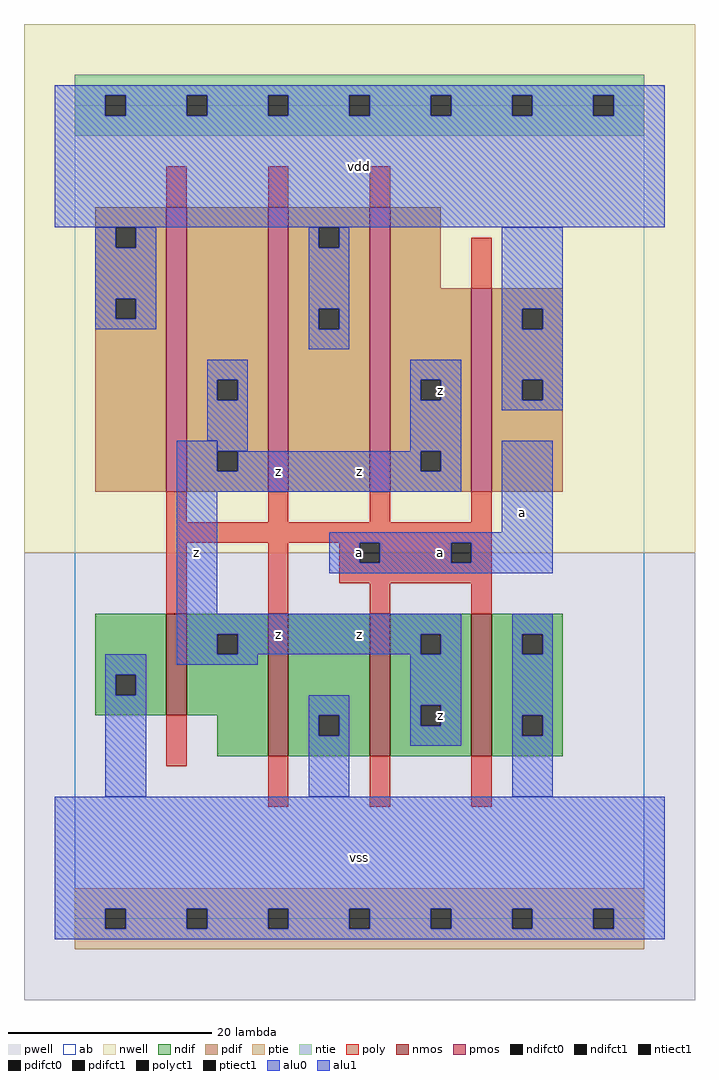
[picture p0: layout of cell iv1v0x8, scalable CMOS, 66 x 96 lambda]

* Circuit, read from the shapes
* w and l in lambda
.subckt iv1v0x8 a vdd vss z
M1 z a vss vss nfet w=10 l=2
M2 vss a z vss nfet w=14 l=2 m=3
M3 z a vdd vdd pfet w=28 l=2 m=3
M4 vdd a z vdd pfet w=20 l=2
.ends

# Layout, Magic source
magic
tech scmos
<< ab >>
rect 0 0 56 80
<< nwell >>
rect -5 36 61 88
<< pwell >>
rect -5 -8 61 36
<< poly >>
rect 9 70 11 74
rect 19 70 21 74
rect 29 70 31 74
rect 39 62 41 67
rect 9 39 11 42
rect 19 39 21 42
rect 29 39 31 42
rect 39 39 41 42
rect 9 37 41 39
rect 9 30 11 37
rect 19 30 21 37
rect 26 35 28 37
rect 30 35 37 37
rect 39 35 41 37
rect 26 33 41 35
rect 29 30 31 33
rect 39 30 41 33
rect 9 15 11 20
rect 19 11 21 16
rect 29 11 31 16
rect 39 11 41 16
<< ndif >>
rect 2 24 9 30
rect 2 22 4 24
rect 6 22 9 24
rect 2 20 9 22
rect 11 28 19 30
rect 11 26 14 28
rect 16 26 19 28
rect 11 20 19 26
rect 14 16 19 20
rect 21 20 29 30
rect 21 18 24 20
rect 26 18 29 20
rect 21 16 29 18
rect 31 28 39 30
rect 31 26 34 28
rect 36 26 39 28
rect 31 21 39 26
rect 31 19 34 21
rect 36 19 39 21
rect 31 16 39 19
rect 41 28 48 30
rect 41 26 44 28
rect 46 26 48 28
rect 41 20 48 26
rect 41 18 44 20
rect 46 18 48 20
rect 41 16 48 18
<< pdif >>
rect 2 68 9 70
rect 2 66 4 68
rect 6 66 9 68
rect 2 61 9 66
rect 2 59 4 61
rect 6 59 9 61
rect 2 42 9 59
rect 11 53 19 70
rect 11 51 14 53
rect 16 51 19 53
rect 11 46 19 51
rect 11 44 14 46
rect 16 44 19 46
rect 11 42 19 44
rect 21 68 29 70
rect 21 66 24 68
rect 26 66 29 68
rect 21 60 29 66
rect 21 58 24 60
rect 26 58 29 60
rect 21 42 29 58
rect 31 62 36 70
rect 31 53 39 62
rect 31 51 34 53
rect 36 51 39 53
rect 31 46 39 51
rect 31 44 34 46
rect 36 44 39 46
rect 31 42 39 44
rect 41 60 48 62
rect 41 58 44 60
rect 46 58 48 60
rect 41 53 48 58
rect 41 51 44 53
rect 46 51 48 53
rect 41 42 48 51
<< alu1 >>
rect -2 81 58 82
rect -2 79 3 81
rect 5 79 11 81
rect 13 79 19 81
rect 21 79 27 81
rect 29 79 35 81
rect 37 79 43 81
rect 45 79 51 81
rect 53 79 58 81
rect -2 68 58 79
rect 10 44 14 47
rect 33 53 38 55
rect 33 51 34 53
rect 36 51 38 53
rect 33 46 38 51
rect 16 44 34 46
rect 36 44 38 46
rect 10 42 38 44
rect 10 30 14 42
rect 42 38 47 47
rect 25 37 47 38
rect 25 35 28 37
rect 30 35 37 37
rect 39 35 47 37
rect 25 34 47 35
rect 10 28 38 30
rect 10 26 14 28
rect 16 26 34 28
rect 36 26 38 28
rect 10 25 18 26
rect 33 21 38 26
rect 33 19 34 21
rect 36 19 38 21
rect 33 17 38 19
rect -2 1 58 12
rect -2 -1 3 1
rect 5 -1 11 1
rect 13 -1 19 1
rect 21 -1 27 1
rect 29 -1 35 1
rect 37 -1 43 1
rect 45 -1 51 1
rect 53 -1 58 1
rect -2 -2 58 -1
<< ptie >>
rect 0 1 56 3
rect 0 -1 3 1
rect 5 -1 11 1
rect 13 -1 19 1
rect 21 -1 27 1
rect 29 -1 35 1
rect 37 -1 43 1
rect 45 -1 51 1
rect 53 -1 56 1
rect 0 -3 56 -1
<< ntie >>
rect 0 81 56 83
rect 0 79 3 81
rect 5 79 11 81
rect 13 79 19 81
rect 21 79 27 81
rect 29 79 35 81
rect 37 79 43 81
rect 45 79 51 81
rect 53 79 56 81
rect 0 77 56 79
<< nmos >>
rect 9 20 11 30
rect 19 16 21 30
rect 29 16 31 30
rect 39 16 41 30
<< pmos >>
rect 9 42 11 70
rect 19 42 21 70
rect 29 42 31 70
rect 39 42 41 62
<< polyct1 >>
rect 28 35 30 37
rect 37 35 39 37
<< ndifct0 >>
rect 4 22 6 24
rect 24 18 26 20
rect 44 26 46 28
rect 44 18 46 20
<< ndifct1 >>
rect 14 26 16 28
rect 34 26 36 28
rect 34 19 36 21
<< ntiect1 >>
rect 3 79 5 81
rect 11 79 13 81
rect 19 79 21 81
rect 27 79 29 81
rect 35 79 37 81
rect 43 79 45 81
rect 51 79 53 81
<< ptiect1 >>
rect 3 -1 5 1
rect 11 -1 13 1
rect 19 -1 21 1
rect 27 -1 29 1
rect 35 -1 37 1
rect 43 -1 45 1
rect 51 -1 53 1
<< pdifct0 >>
rect 4 66 6 68
rect 4 59 6 61
rect 14 51 16 53
rect 24 66 26 68
rect 24 58 26 60
rect 44 58 46 60
rect 44 51 46 53
<< pdifct1 >>
rect 14 44 16 46
rect 34 51 36 53
rect 34 44 36 46
<< alu0 >>
rect 2 66 4 68
rect 6 66 8 68
rect 2 61 8 66
rect 2 59 4 61
rect 6 59 8 61
rect 2 58 8 59
rect 23 66 24 68
rect 26 66 27 68
rect 23 60 27 66
rect 23 58 24 60
rect 26 58 27 60
rect 23 56 27 58
rect 42 60 48 68
rect 42 58 44 60
rect 46 58 48 60
rect 13 53 17 55
rect 13 51 14 53
rect 16 51 17 53
rect 13 47 17 51
rect 14 46 17 47
rect 42 53 48 58
rect 42 51 44 53
rect 46 51 48 53
rect 42 50 48 51
rect 3 24 7 26
rect 3 22 4 24
rect 6 22 7 24
rect 3 12 7 22
rect 23 20 27 22
rect 23 18 24 20
rect 26 18 27 20
rect 23 12 27 18
rect 43 28 47 30
rect 43 26 44 28
rect 46 26 47 28
rect 43 20 47 26
rect 43 18 44 20
rect 46 18 47 20
rect 43 12 47 18
<< labels >>
rlabel alu1 12 36 12 36 6 z
rlabel alu1 20 28 20 28 6 z
rlabel alu1 20 44 20 44 6 z
rlabel alu1 28 6 28 6 6 vss
rlabel alu1 36 20 36 20 6 z
rlabel alu1 28 28 28 28 6 z
rlabel alu1 28 36 28 36 6 a
rlabel alu1 36 36 36 36 6 a
rlabel alu1 28 44 28 44 6 z
rlabel alu1 36 52 36 52 6 z
rlabel alu1 28 74 28 74 6 vdd
rlabel alu1 44 40 44 40 6 a
<< end >>
